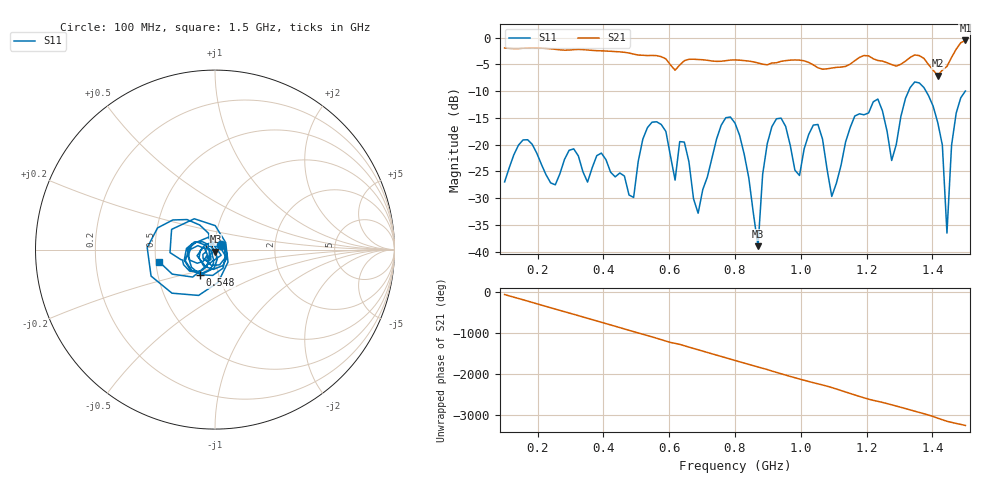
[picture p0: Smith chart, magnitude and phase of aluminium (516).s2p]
! NanoVNA-App
! Date: 2025-09-25 14:59:18
! Start: 100MHz Stop: 1,5GHz Points: 101
! S-Parameter data: F S11 S21 S12 S22
# Hz S RI R 50
!  Frequency  S11_Real  S11_Imag  S21_Real  S21_Imag  S12_Real  S12_Imag  S22_Real  S22_Imag
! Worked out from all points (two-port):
!   101 points, 100 MHz to 1.5 GHz, reference 50 ohm
!   highest |S21| = -0.52 dB at 1.5 GHz (marker M1); lowest = -7.1 dB at 1.416 GHz (marker M2)
!   |S21| within 3 dB of the highest: start of sweep to 573.7 MHz; 1.46 GHz to end of sweep (the widest 2 of 4)
!   lowest |S11| = -39.0 dB at 870 MHz (marker M3), VSWR 1.02, Z = 50.3 - j1.1 ohm
!   |S11| at or under -10 dB: start of sweep to 1.327 GHz; 1.38 GHz to 1.5 GHz (119.3 MHz wide, 8.29 % of centre)
!   S12 and S22 are empty: the file has one direction only
!   S11 on the Smith chart (normalised r, x): 100 MHz: 1.07, +0.06; 548 MHz: 0.82, -0.24; 1.5 GHz: 0.52, -0.08
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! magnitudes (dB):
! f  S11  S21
! 100 MHz  -27.0  -1.9
! 156 MHz  -19.1  -2.0
! 338 MHz  -25.1  -2.2
! 492 MHz  -29.9  -3.1
! 548 MHz  -15.8  -3.3
! 576 MHz  -16.2  -3.5
! 618 MHz  -26.6  -6.1
! 646 MHz  -19.5  -4.3
! 688 MHz  -32.8  -4.1
! 800 MHz  -16.0  -4.2
! 870 MHz  -39.0  -4.7
! 912 MHz  -16.6  -4.7
! 996 MHz  -25.8  -4.2
! 1.038 GHz  -16.3  -5.1
! 1.094 GHz  -29.7  -5.7
! 1.22 GHz  -12.0  -3.9
! 1.276 GHz  -23.0  -5.0
! 1.346 GHz  -8.3  -3.2
! 1.416 GHz  -15.9  -7.1
! 1.444 GHz  -36.5  -5.4
! 1.458 GHz  -20.1  -3.7
! 1.5 GHz  -10.0  -0.5
